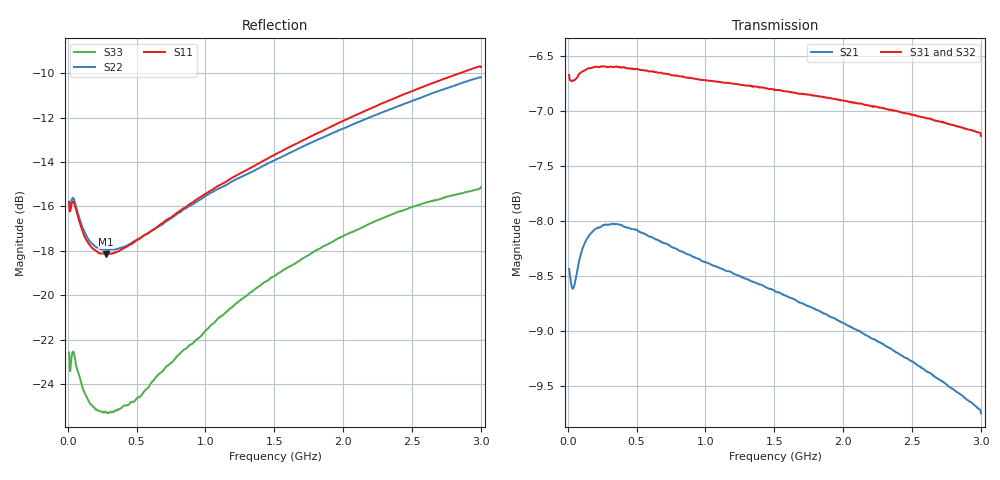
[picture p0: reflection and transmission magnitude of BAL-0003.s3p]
! MARKI MICROWAVE INC.
! Email:  info@markimicrowave.com  Phone:  408-778-4200
! Model Number:  BAL-0003  Date:  06/12
! Filename:		BAL-0003.S3P  Version: 1.0
! Description:  3-port S-parameter data for Balun BAL-0003
! Frequency Range: 	10 MHz to 3 GHz
! Port Configuration:	PORT 1: OUTPUT (0 DEGREE), PORT 2: OUTPUT (180 DEGREE), PORT 3: COMMON
! S3P File: Measurements: Mag<S11> Ang<S11> Mag<S12> Ang<S12> Mag<S13> Ang<S13>! row 1
!  Mag<S21> Ang<S21> Mag<S22> Ang<S22> Mag<S23> Ang<S23>! row 2
!  Mag<S31> Ang<S31> Mag<S32> Ang<S32> Mag<S33> Ang<S33>! row 3
# Hz S  dB  R 50
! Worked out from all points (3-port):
!   801 points, 10 MHz to 3 GHz, reference 50 ohm
!   strongest paths, dB at 10 MHz, 757.5 MHz, 1.505 GHz, 2.252 GHz, 3 GHz:
!     S31: -6.7, -6.7, -6.8, -7.0, -7.2
!     S32: -6.7, -6.7, -6.8, -6.9, -7.1
!     S21: -8.4, -8.2, -8.6, -9.1, -9.7
!   lowest |S11| = -18.1 dB at 279.1 MHz (marker M1), VSWR 1.28, Z = 39.1 + j1.35 ohm
!   |S11| at or under -10 dB: start of sweep to 2.846 GHz
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1e7  -15.80 160.8  -8.44 4.5  -6.68 -0.7
     -8.44 4.3  -15.78 160.4  -6.71 179.4
     -6.67 0.5  -6.71 -179.3  -22.57 154.9
2.791e8  -18.15 172.1  -8.04 -16.6  -6.60 -28.2
         -8.03 -16.5  -17.94 169.9  -6.63 151.9
         -6.60 -28.2  -6.64 151.9  -25.25 147.9
6.00525e8  -17.13 171.8  -8.13 -37.8  -6.64 -61.1
           -8.14 -37.8  -17.11 167.5  -6.67 119.1
           -6.64 -61.1  -6.66 119.1  -23.99 118.8
8.883125e8  -15.88 164.7  -8.30 -55.7  -6.70 -90.1
            -8.31 -55.7  -15.97 158.6  -6.72 90.0
            -6.70 -90.1  -6.72 90.1  -22.23 87.0
1.183575e9  -14.74 153.9  -8.45 -73.6  -6.75 -119.7
            -8.46 -73.6  -14.91 146.3  -6.77 60.5
            -6.75 -119.7  -6.76 60.5  -20.57 50.8
1.505e9  -13.66 140.8  -8.63 -92.9  -6.80 -151.9
         -8.64 -92.9  -13.91 131.8  -6.81 28.3
         -6.81 -151.9  -6.81 28.3  -19.12 10.2
1.9236e9  -12.37 121.7  -8.87 -117.9  -6.88 166.2
          -8.88 -117.9  -12.69 110.9  -6.88 -13.5
          -6.89 166.2  -6.88 -13.5  -17.58 -44.3
2.3721e9  -11.13 99.6  -9.18 -144.3  -6.99 121.5
          -9.18 -144.3  -11.56 87.0  -6.96 -58.2
          -7.00 121.5  -6.97 -58.2  -16.31 -103.9
2.689788e9  -10.36 83.0  -9.43 -162.9  -7.10 89.9
            -9.44 -162.9  -10.81 69.1  -7.04 -89.8
            -7.09 89.9  -7.04 -89.8  -15.69 -147.1
3e9  -9.72 64.8  -9.72 179.0  -7.20 60.9
     -9.75 179.0  -10.19 52.2  -7.12 -117.8
     -7.23 59.1  -7.12 -119.6  -15.13 172.2
